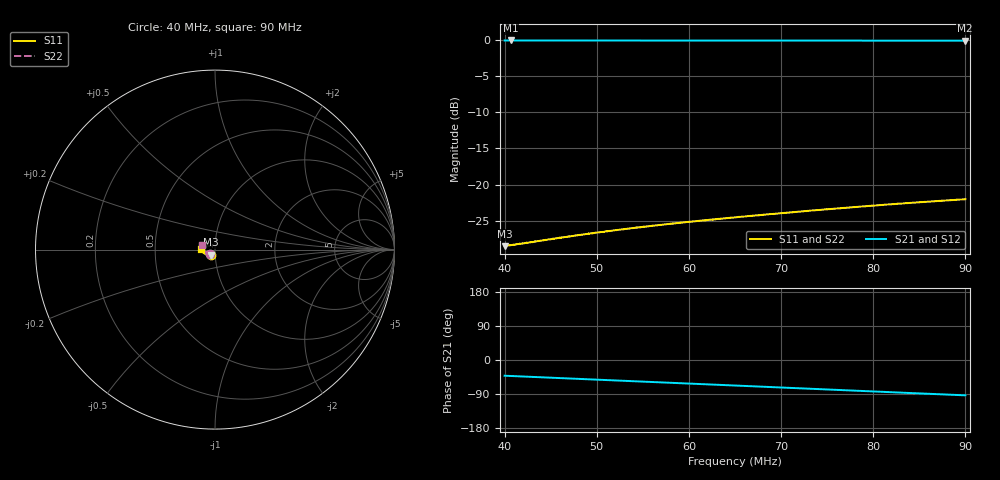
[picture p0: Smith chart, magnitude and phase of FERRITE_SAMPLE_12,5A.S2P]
!Agilent Technologies,E5061B,MY49102235,A.02.00
!Date: Mon Jul 03 10:32:32 2023
!Data & Calibration Information:
!Freq	S11:SOLT2(ON)	S21:SOLT2(ON)	S12:SOLT2(ON)	S22:SOLT2(ON)
# Hz S RI R 50
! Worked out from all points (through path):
!   1600 points, 40 MHz to 90 MHz, reference 50 ohm
!   highest |S21| = 0.00 dB at 40.69 MHz (marker M1); lowest = 0.0 dB at 89.91 MHz (marker M2)
!   group delay of S21, straight-line fit = 2.88 ns
!   lowest |S11| = -28.6 dB at 40 MHz (marker M3), VSWR 1.08, Z = 47.6 - j2.72 ohm
!   |S11| at or under -10 dB: start of sweep to end of sweep
!   |S22| runs from -28.7 to -22.0 dB; largest |S21 - S12| = 0.0014
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4e7  -0.0241 -0.0285  0.7485 -0.6621  0.7487 -0.6614  -0.0282 -0.0237
4.028143e7  -0.0245 -0.0287  0.7451 -0.6658  0.7453 -0.6649  -0.0284 -0.0236
4.068793e7  -0.0248 -0.0287  0.7404 -0.6715  0.7406 -0.6705  -0.029 -0.0237
4.303315e7  -0.0273 -0.029  0.7109 -0.7021  0.7112 -0.7015  -0.032 -0.0235
4.444028e7  -0.0289 -0.0294  0.6929 -0.7197  0.6931 -0.7193  -0.0339 -0.0232
4.590994e7  -0.0307 -0.0297  0.6735 -0.7378  0.6736 -0.7373  -0.0357 -0.0229
4.834897e7  -0.0334 -0.0299  0.6401 -0.7666  0.6403 -0.7663  -0.0388 -0.0219
5.253909e7  -0.0383 -0.03  0.58 -0.8127  0.5799 -0.8123  -0.0441 -0.0196
5.666667e7  -0.0433 -0.0294  0.5177 -0.8533  0.5177 -0.8528  -0.049 -0.0166
6.085679e7  -0.0483 -0.0278  0.4519 -0.89  0.4517 -0.8893  -0.0535 -0.0131
6.501563e7  -0.0534 -0.0255  0.3836 -0.9214  0.3839 -0.9204  -0.0576 -0.00925
6.901814e7  -0.0583 -0.0223  0.3159 -0.9467  0.3164 -0.946  -0.0615 -0.00507
7.133208e7  -0.061 -0.0203  0.2758 -0.9592  0.2766 -0.9581  -0.0638 -0.00224
7.33646e7  -0.0634 -0.0184  0.24 -0.9685  0.2409 -0.9677  -0.0656 0.000235
7.530331e7  -0.0657 -0.0164  0.2059 -0.9762  0.2066 -0.9757  -0.0672 0.00283
7.764853e7  -0.0681 -0.0139  0.164 -0.9837  0.1648 -0.9834  -0.069 0.00617
7.964978e7  -0.0701 -0.0118  0.1285 -0.9888  0.1292 -0.9882  -0.0704 0.00924
8.16823e7  -0.0722 -0.00953  0.0921 -0.9923  0.0925 -0.9922  -0.0717 0.0125
8.349593e7  -0.0739 -0.00732  0.0595 -0.9945  0.0601 -0.9943  -0.0726 0.0155
8.596623e7  -0.0759 -0.00436  0.0153 -0.996  0.0156 -0.9957  -0.0735 0.0198
8.990619e7  -0.079 0.000901  -0.055 -0.9939  -0.055 -0.9938  -0.0744 0.0268
9e7  -0.0791 0.00104  -0.0567 -0.994  -0.0564 -0.9937  -0.0746 0.027
